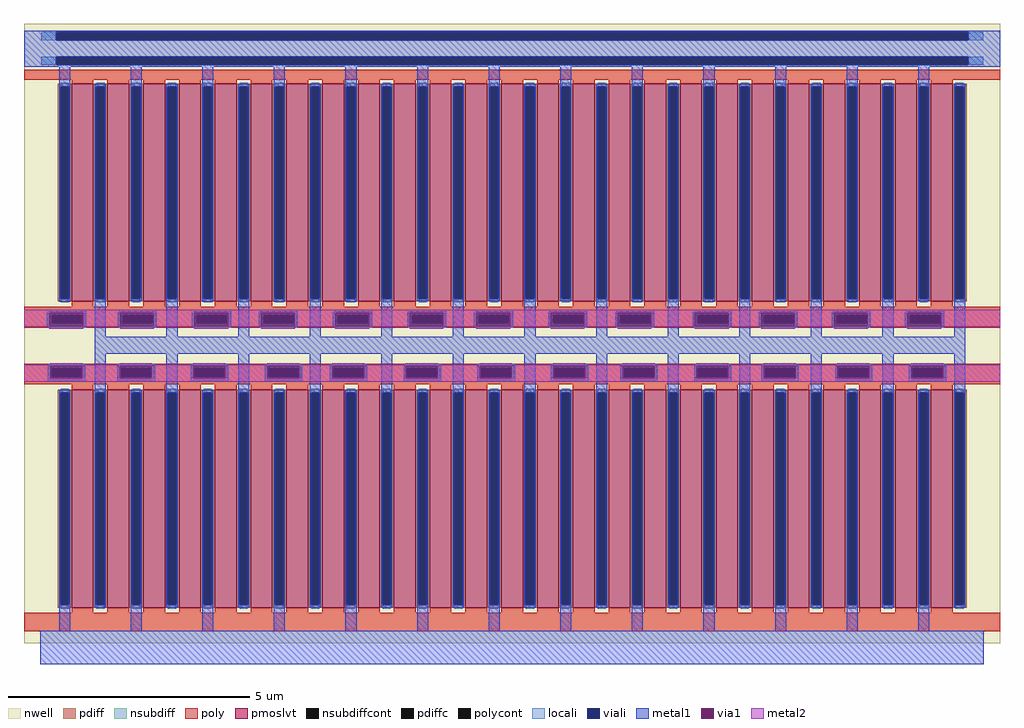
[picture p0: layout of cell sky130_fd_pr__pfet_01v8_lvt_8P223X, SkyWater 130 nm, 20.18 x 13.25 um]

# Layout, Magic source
magic
tech sky130A
magscale 1 2
<< nwell >>
rect -2017 76 2017 1196
rect -2018 -202 2017 76
rect -2017 -1367 2017 -202
<< pmoslvt >>
rect -1821 47 -1731 947
rect -1673 47 -1583 947
rect -1525 47 -1435 947
rect -1377 47 -1287 947
rect -1229 47 -1139 947
rect -1081 47 -991 947
rect -933 47 -843 947
rect -785 47 -695 947
rect -637 47 -547 947
rect -489 47 -399 947
rect -341 47 -251 947
rect -193 47 -103 947
rect -45 47 45 947
rect 103 47 193 947
rect 251 47 341 947
rect 399 47 489 947
rect 547 47 637 947
rect 695 47 785 947
rect 843 47 933 947
rect 991 47 1081 947
rect 1139 47 1229 947
rect 1287 47 1377 947
rect 1435 47 1525 947
rect 1583 47 1673 947
rect 1731 47 1821 947
rect -1821 -1219 -1731 -319
rect -1673 -1219 -1583 -319
rect -1525 -1219 -1435 -319
rect -1377 -1219 -1287 -319
rect -1229 -1219 -1139 -319
rect -1081 -1219 -991 -319
rect -933 -1219 -843 -319
rect -785 -1219 -695 -319
rect -637 -1219 -547 -319
rect -489 -1219 -399 -319
rect -341 -1219 -251 -319
rect -193 -1219 -103 -319
rect -45 -1219 45 -319
rect 103 -1219 193 -319
rect 251 -1219 341 -319
rect 399 -1219 489 -319
rect 547 -1219 637 -319
rect 695 -1219 785 -319
rect 843 -1219 933 -319
rect 991 -1219 1081 -319
rect 1139 -1219 1229 -319
rect 1287 -1219 1377 -319
rect 1435 -1219 1525 -319
rect 1583 -1219 1673 -319
rect 1731 -1219 1821 -319
<< pdiff >>
rect -1879 935 -1821 947
rect -1879 59 -1867 935
rect -1833 59 -1821 935
rect -1879 47 -1821 59
rect -1731 935 -1673 947
rect -1731 59 -1719 935
rect -1685 59 -1673 935
rect -1731 47 -1673 59
rect -1583 935 -1525 947
rect -1583 59 -1571 935
rect -1537 59 -1525 935
rect -1583 47 -1525 59
rect -1435 935 -1377 947
rect -1435 59 -1423 935
rect -1389 59 -1377 935
rect -1435 47 -1377 59
rect -1287 935 -1229 947
rect -1287 59 -1275 935
rect -1241 59 -1229 935
rect -1287 47 -1229 59
rect -1139 935 -1081 947
rect -1139 59 -1127 935
rect -1093 59 -1081 935
rect -1139 47 -1081 59
rect -991 935 -933 947
rect -991 59 -979 935
rect -945 59 -933 935
rect -991 47 -933 59
rect -843 935 -785 947
rect -843 59 -831 935
rect -797 59 -785 935
rect -843 47 -785 59
rect -695 935 -637 947
rect -695 59 -683 935
rect -649 59 -637 935
rect -695 47 -637 59
rect -547 935 -489 947
rect -547 59 -535 935
rect -501 59 -489 935
rect -547 47 -489 59
rect -399 935 -341 947
rect -399 59 -387 935
rect -353 59 -341 935
rect -399 47 -341 59
rect -251 935 -193 947
rect -251 59 -239 935
rect -205 59 -193 935
rect -251 47 -193 59
rect -103 935 -45 947
rect -103 59 -91 935
rect -57 59 -45 935
rect -103 47 -45 59
rect 45 935 103 947
rect 45 59 57 935
rect 91 59 103 935
rect 45 47 103 59
rect 193 935 251 947
rect 193 59 205 935
rect 239 59 251 935
rect 193 47 251 59
rect 341 935 399 947
rect 341 59 353 935
rect 387 59 399 935
rect 341 47 399 59
rect 489 935 547 947
rect 489 59 501 935
rect 535 59 547 935
rect 489 47 547 59
rect 637 935 695 947
rect 637 59 649 935
rect 683 59 695 935
rect 637 47 695 59
rect 785 935 843 947
rect 785 59 797 935
rect 831 59 843 935
rect 785 47 843 59
rect 933 935 991 947
rect 933 59 945 935
rect 979 59 991 935
rect 933 47 991 59
rect 1081 935 1139 947
rect 1081 59 1093 935
rect 1127 59 1139 935
rect 1081 47 1139 59
rect 1229 935 1287 947
rect 1229 59 1241 935
rect 1275 59 1287 935
rect 1229 47 1287 59
rect 1377 935 1435 947
rect 1377 59 1389 935
rect 1423 59 1435 935
rect 1377 47 1435 59
rect 1525 935 1583 947
rect 1525 59 1537 935
rect 1571 59 1583 935
rect 1525 47 1583 59
rect 1673 935 1731 947
rect 1673 59 1685 935
rect 1719 59 1731 935
rect 1673 47 1731 59
rect 1821 935 1879 947
rect 1821 59 1833 935
rect 1867 59 1879 935
rect 1821 47 1879 59
rect -1879 -331 -1821 -319
rect -1879 -1207 -1867 -331
rect -1833 -1207 -1821 -331
rect -1879 -1219 -1821 -1207
rect -1731 -331 -1673 -319
rect -1731 -1207 -1719 -331
rect -1685 -1207 -1673 -331
rect -1731 -1219 -1673 -1207
rect -1583 -331 -1525 -319
rect -1583 -1207 -1571 -331
rect -1537 -1207 -1525 -331
rect -1583 -1219 -1525 -1207
rect -1435 -331 -1377 -319
rect -1435 -1207 -1423 -331
rect -1389 -1207 -1377 -331
rect -1435 -1219 -1377 -1207
rect -1287 -331 -1229 -319
rect -1287 -1207 -1275 -331
rect -1241 -1207 -1229 -331
rect -1287 -1219 -1229 -1207
rect -1139 -331 -1081 -319
rect -1139 -1207 -1127 -331
rect -1093 -1207 -1081 -331
rect -1139 -1219 -1081 -1207
rect -991 -331 -933 -319
rect -991 -1207 -979 -331
rect -945 -1207 -933 -331
rect -991 -1219 -933 -1207
rect -843 -331 -785 -319
rect -843 -1207 -831 -331
rect -797 -1207 -785 -331
rect -843 -1219 -785 -1207
rect -695 -331 -637 -319
rect -695 -1207 -683 -331
rect -649 -1207 -637 -331
rect -695 -1219 -637 -1207
rect -547 -331 -489 -319
rect -547 -1207 -535 -331
rect -501 -1207 -489 -331
rect -547 -1219 -489 -1207
rect -399 -331 -341 -319
rect -399 -1207 -387 -331
rect -353 -1207 -341 -331
rect -399 -1219 -341 -1207
rect -251 -331 -193 -319
rect -251 -1207 -239 -331
rect -205 -1207 -193 -331
rect -251 -1219 -193 -1207
rect -103 -331 -45 -319
rect -103 -1207 -91 -331
rect -57 -1207 -45 -331
rect -103 -1219 -45 -1207
rect 45 -331 103 -319
rect 45 -1207 57 -331
rect 91 -1207 103 -331
rect 45 -1219 103 -1207
rect 193 -331 251 -319
rect 193 -1207 205 -331
rect 239 -1207 251 -331
rect 193 -1219 251 -1207
rect 341 -331 399 -319
rect 341 -1207 353 -331
rect 387 -1207 399 -331
rect 341 -1219 399 -1207
rect 489 -331 547 -319
rect 489 -1207 501 -331
rect 535 -1207 547 -331
rect 489 -1219 547 -1207
rect 637 -331 695 -319
rect 637 -1207 649 -331
rect 683 -1207 695 -331
rect 637 -1219 695 -1207
rect 785 -331 843 -319
rect 785 -1207 797 -331
rect 831 -1207 843 -331
rect 785 -1219 843 -1207
rect 933 -331 991 -319
rect 933 -1207 945 -331
rect 979 -1207 991 -331
rect 933 -1219 991 -1207
rect 1081 -331 1139 -319
rect 1081 -1207 1093 -331
rect 1127 -1207 1139 -331
rect 1081 -1219 1139 -1207
rect 1229 -331 1287 -319
rect 1229 -1207 1241 -331
rect 1275 -1207 1287 -331
rect 1229 -1219 1287 -1207
rect 1377 -331 1435 -319
rect 1377 -1207 1389 -331
rect 1423 -1207 1435 -331
rect 1377 -1219 1435 -1207
rect 1525 -331 1583 -319
rect 1525 -1207 1537 -331
rect 1571 -1207 1583 -331
rect 1525 -1219 1583 -1207
rect 1673 -331 1731 -319
rect 1673 -1207 1685 -331
rect 1719 -1207 1731 -331
rect 1673 -1219 1731 -1207
rect 1821 -331 1879 -319
rect 1821 -1207 1833 -331
rect 1867 -1207 1879 -331
rect 1821 -1219 1879 -1207
<< pdiffc >>
rect -1867 59 -1833 935
rect -1719 59 -1685 935
rect -1571 59 -1537 935
rect -1423 59 -1389 935
rect -1275 59 -1241 935
rect -1127 59 -1093 935
rect -979 59 -945 935
rect -831 59 -797 935
rect -683 59 -649 935
rect -535 59 -501 935
rect -387 59 -353 935
rect -239 59 -205 935
rect -91 59 -57 935
rect 57 59 91 935
rect 205 59 239 935
rect 353 59 387 935
rect 501 59 535 935
rect 649 59 683 935
rect 797 59 831 935
rect 945 59 979 935
rect 1093 59 1127 935
rect 1241 59 1275 935
rect 1389 59 1423 935
rect 1537 59 1571 935
rect 1685 59 1719 935
rect 1833 59 1867 935
rect -1867 -1207 -1833 -331
rect -1719 -1207 -1685 -331
rect -1571 -1207 -1537 -331
rect -1423 -1207 -1389 -331
rect -1275 -1207 -1241 -331
rect -1127 -1207 -1093 -331
rect -979 -1207 -945 -331
rect -831 -1207 -797 -331
rect -683 -1207 -649 -331
rect -535 -1207 -501 -331
rect -387 -1207 -353 -331
rect -239 -1207 -205 -331
rect -91 -1207 -57 -331
rect 57 -1207 91 -331
rect 205 -1207 239 -331
rect 353 -1207 387 -331
rect 501 -1207 535 -331
rect 649 -1207 683 -331
rect 797 -1207 831 -331
rect 945 -1207 979 -331
rect 1093 -1207 1127 -331
rect 1241 -1207 1275 -331
rect 1389 -1207 1423 -331
rect 1537 -1207 1571 -331
rect 1685 -1207 1719 -331
rect 1833 -1207 1867 -331
<< nsubdiff >>
rect -1947 1126 -1885 1160
rect 1885 1126 1947 1160
rect -1947 1025 -1885 1059
rect 1885 1025 1947 1059
<< nsubdiffcont >>
rect -1885 1126 1885 1160
rect -1885 1025 1885 1059
<< poly >>
rect -2017 964 2017 1005
rect -1821 947 -1731 964
rect -1673 947 -1583 964
rect -1525 947 -1435 964
rect -1377 947 -1287 964
rect -1229 947 -1139 964
rect -1081 947 -991 964
rect -933 947 -843 964
rect -785 947 -695 964
rect -637 947 -547 964
rect -489 947 -399 964
rect -341 947 -251 964
rect -193 947 -103 964
rect -45 947 45 964
rect 103 947 193 964
rect 251 947 341 964
rect 399 947 489 964
rect 547 947 637 964
rect 695 947 785 964
rect 843 947 933 964
rect 991 947 1081 964
rect 1139 947 1229 964
rect 1287 947 1377 964
rect 1435 947 1525 964
rect 1583 947 1673 964
rect 1731 947 1821 964
rect -1821 24 -1731 47
rect -1673 24 -1583 47
rect -1525 24 -1435 47
rect -1377 24 -1287 47
rect -1229 24 -1139 47
rect -1081 24 -991 47
rect -933 24 -843 47
rect -785 24 -695 47
rect -637 24 -547 47
rect -489 24 -399 47
rect -341 24 -251 47
rect -193 24 -103 47
rect -45 24 45 47
rect 103 24 193 47
rect 251 24 341 47
rect 399 24 489 47
rect 547 24 637 47
rect 695 24 785 47
rect 843 24 933 47
rect 991 24 1081 47
rect 1139 24 1229 47
rect 1287 24 1377 47
rect 1435 24 1525 47
rect 1583 24 1673 47
rect 1731 24 1821 47
rect -2017 -10 2017 24
rect -2017 -44 -1902 -10
rect -1778 -44 -1610 -10
rect -1486 -44 -1303 -10
rect -1179 -44 -1027 -10
rect -903 -44 -720 -10
rect -596 -44 -413 -10
rect -289 -44 -137 -10
rect -13 -44 170 -10
rect 294 -44 447 -10
rect 571 -44 767 -10
rect 891 -44 1040 -10
rect 1164 -44 1342 -10
rect 1466 -44 1645 -10
rect 1769 -44 2017 -10
rect -2017 -61 2017 -44
rect -2017 -230 2017 -211
rect -2017 -264 -1903 -230
rect -1779 -264 -1616 -230
rect -1492 -264 -1312 -230
rect -1188 -264 -1007 -230
rect -883 -264 -738 -230
rect -614 -264 -433 -230
rect -309 -264 -128 -230
rect -4 -264 176 -230
rect 300 -264 463 -230
rect 587 -264 768 -230
rect 892 -264 1046 -230
rect 1170 -264 1351 -230
rect 1475 -264 1656 -230
rect 1780 -264 2017 -230
rect -2017 -295 2017 -264
rect -1821 -319 -1731 -295
rect -1673 -319 -1583 -295
rect -1525 -319 -1435 -295
rect -1377 -319 -1287 -295
rect -1229 -319 -1139 -295
rect -1081 -319 -991 -295
rect -933 -319 -843 -295
rect -785 -319 -695 -295
rect -637 -319 -547 -295
rect -489 -319 -399 -295
rect -341 -319 -251 -295
rect -193 -319 -103 -295
rect -45 -319 45 -295
rect 103 -319 193 -295
rect 251 -319 341 -295
rect 399 -319 489 -295
rect 547 -319 637 -295
rect 695 -319 785 -295
rect 843 -319 933 -295
rect 991 -319 1081 -295
rect 1139 -319 1229 -295
rect 1287 -319 1377 -295
rect 1435 -319 1525 -295
rect 1583 -319 1673 -295
rect 1731 -319 1821 -295
rect -1821 -1241 -1731 -1219
rect -1673 -1241 -1583 -1219
rect -1525 -1241 -1435 -1219
rect -1377 -1241 -1287 -1219
rect -1229 -1241 -1139 -1219
rect -1081 -1241 -991 -1219
rect -933 -1241 -843 -1219
rect -785 -1241 -695 -1219
rect -637 -1241 -547 -1219
rect -489 -1241 -399 -1219
rect -341 -1241 -251 -1219
rect -193 -1241 -103 -1219
rect -45 -1241 45 -1219
rect 103 -1241 193 -1219
rect 251 -1241 341 -1219
rect 399 -1241 489 -1219
rect 547 -1241 637 -1219
rect 695 -1241 785 -1219
rect 843 -1241 933 -1219
rect 991 -1241 1081 -1219
rect 1139 -1241 1229 -1219
rect 1287 -1241 1377 -1219
rect 1435 -1241 1525 -1219
rect 1583 -1241 1673 -1219
rect 1731 -1241 1821 -1219
rect -2017 -1317 2017 -1241
<< polycont >>
rect -1902 -44 -1778 -10
rect -1610 -44 -1486 -10
rect -1303 -44 -1179 -10
rect -1027 -44 -903 -10
rect -720 -44 -596 -10
rect -413 -44 -289 -10
rect -137 -44 -13 -10
rect 170 -44 294 -10
rect 447 -44 571 -10
rect 767 -44 891 -10
rect 1040 -44 1164 -10
rect 1342 -44 1466 -10
rect 1645 -44 1769 -10
rect -1903 -264 -1779 -230
rect -1616 -264 -1492 -230
rect -1312 -264 -1188 -230
rect -1007 -264 -883 -230
rect -738 -264 -614 -230
rect -433 -264 -309 -230
rect -128 -264 -4 -230
rect 176 -264 300 -230
rect 463 -264 587 -230
rect 768 -264 892 -230
rect 1046 -264 1170 -230
rect 1351 -264 1475 -230
rect 1656 -264 1780 -230
<< locali >>
rect -1947 1126 -1885 1160
rect 1885 1126 1947 1160
rect -1947 1025 -1885 1059
rect 1885 1025 1947 1059
rect -1867 935 -1833 951
rect -1867 43 -1833 59
rect -1719 935 -1685 951
rect -1719 43 -1685 59
rect -1571 935 -1537 951
rect -1571 43 -1537 59
rect -1423 935 -1389 951
rect -1423 43 -1389 59
rect -1275 935 -1241 951
rect -1275 43 -1241 59
rect -1127 935 -1093 951
rect -1127 43 -1093 59
rect -979 935 -945 951
rect -979 43 -945 59
rect -831 935 -797 951
rect -831 43 -797 59
rect -683 935 -649 951
rect -683 43 -649 59
rect -535 935 -501 951
rect -535 43 -501 59
rect -387 935 -353 951
rect -387 43 -353 59
rect -239 935 -205 951
rect -239 43 -205 59
rect -91 935 -57 951
rect -91 43 -57 59
rect 57 935 91 951
rect 57 43 91 59
rect 205 935 239 951
rect 205 43 239 59
rect 353 935 387 951
rect 353 43 387 59
rect 501 935 535 951
rect 501 43 535 59
rect 649 935 683 951
rect 649 43 683 59
rect 797 935 831 951
rect 797 43 831 59
rect 945 935 979 951
rect 945 43 979 59
rect 1093 935 1127 951
rect 1093 43 1127 59
rect 1241 935 1275 951
rect 1241 43 1275 59
rect 1389 935 1423 951
rect 1389 43 1423 59
rect 1537 935 1571 951
rect 1537 43 1571 59
rect 1685 935 1719 951
rect 1685 43 1719 59
rect 1833 935 1867 951
rect 1833 43 1867 59
rect -1918 -10 -1761 7
rect -1918 -44 -1902 -10
rect -1778 -44 -1761 -10
rect -1918 -61 -1761 -44
rect -1626 -10 -1469 7
rect -1626 -44 -1610 -10
rect -1486 -44 -1469 -10
rect -1626 -61 -1469 -44
rect -1319 -10 -1162 7
rect -1319 -44 -1303 -10
rect -1179 -44 -1162 -10
rect -1319 -61 -1162 -44
rect -1043 -10 -886 7
rect -1043 -44 -1027 -10
rect -903 -44 -886 -10
rect -1043 -61 -886 -44
rect -736 -10 -579 7
rect -736 -44 -720 -10
rect -596 -44 -579 -10
rect -736 -61 -579 -44
rect -429 -10 -272 7
rect -429 -44 -413 -10
rect -289 -44 -272 -10
rect -429 -61 -272 -44
rect -153 -10 4 7
rect -153 -44 -137 -10
rect -13 -44 4 -10
rect -153 -61 4 -44
rect 154 -10 311 7
rect 154 -44 170 -10
rect 294 -44 311 -10
rect 154 -61 311 -44
rect 431 -10 588 7
rect 431 -44 447 -10
rect 571 -44 588 -10
rect 431 -61 588 -44
rect 751 -10 908 7
rect 751 -44 767 -10
rect 891 -44 908 -10
rect 751 -61 908 -44
rect 1024 -10 1181 7
rect 1024 -44 1040 -10
rect 1164 -44 1181 -10
rect 1024 -61 1181 -44
rect 1326 -10 1483 7
rect 1326 -44 1342 -10
rect 1466 -44 1483 -10
rect 1326 -61 1483 -44
rect 1629 -10 1786 7
rect 1629 -44 1645 -10
rect 1769 -44 1786 -10
rect 1629 -61 1786 -44
rect -1919 -230 -1763 -213
rect -1919 -264 -1903 -230
rect -1779 -264 -1763 -230
rect -1919 -281 -1763 -264
rect -1632 -230 -1476 -213
rect -1632 -264 -1616 -230
rect -1492 -264 -1476 -230
rect -1632 -281 -1476 -264
rect -1328 -230 -1172 -213
rect -1328 -264 -1312 -230
rect -1188 -264 -1172 -230
rect -1328 -281 -1172 -264
rect -1023 -230 -867 -213
rect -1023 -264 -1007 -230
rect -883 -264 -867 -230
rect -1023 -281 -867 -264
rect -754 -230 -598 -213
rect -754 -264 -738 -230
rect -614 -264 -598 -230
rect -754 -281 -598 -264
rect -449 -230 -293 -213
rect -449 -264 -433 -230
rect -309 -264 -293 -230
rect -449 -281 -293 -264
rect -144 -230 12 -213
rect -144 -264 -128 -230
rect -4 -264 12 -230
rect -144 -281 12 -264
rect 160 -230 316 -213
rect 160 -264 176 -230
rect 300 -264 316 -230
rect 160 -281 316 -264
rect 447 -230 603 -213
rect 447 -264 463 -230
rect 587 -264 603 -230
rect 447 -281 603 -264
rect 752 -230 908 -213
rect 752 -264 768 -230
rect 892 -264 908 -230
rect 752 -281 908 -264
rect 1030 -230 1186 -213
rect 1030 -264 1046 -230
rect 1170 -264 1186 -230
rect 1030 -281 1186 -264
rect 1335 -230 1491 -213
rect 1335 -264 1351 -230
rect 1475 -264 1491 -230
rect 1335 -281 1491 -264
rect 1640 -230 1796 -213
rect 1640 -264 1656 -230
rect 1780 -264 1796 -230
rect 1640 -281 1796 -264
rect -1867 -331 -1833 -315
rect -1867 -1223 -1833 -1207
rect -1719 -331 -1685 -315
rect -1719 -1223 -1685 -1207
rect -1571 -331 -1537 -315
rect -1571 -1223 -1537 -1207
rect -1423 -331 -1389 -315
rect -1423 -1223 -1389 -1207
rect -1275 -331 -1241 -315
rect -1275 -1223 -1241 -1207
rect -1127 -331 -1093 -315
rect -1127 -1223 -1093 -1207
rect -979 -331 -945 -315
rect -979 -1223 -945 -1207
rect -831 -331 -797 -315
rect -831 -1223 -797 -1207
rect -683 -331 -649 -315
rect -683 -1223 -649 -1207
rect -535 -331 -501 -315
rect -535 -1223 -501 -1207
rect -387 -331 -353 -315
rect -387 -1223 -353 -1207
rect -239 -331 -205 -315
rect -239 -1223 -205 -1207
rect -91 -331 -57 -315
rect -91 -1223 -57 -1207
rect 57 -331 91 -315
rect 57 -1223 91 -1207
rect 205 -331 239 -315
rect 205 -1223 239 -1207
rect 353 -331 387 -315
rect 353 -1223 387 -1207
rect 501 -331 535 -315
rect 501 -1223 535 -1207
rect 649 -331 683 -315
rect 649 -1223 683 -1207
rect 797 -331 831 -315
rect 797 -1223 831 -1207
rect 945 -331 979 -315
rect 945 -1223 979 -1207
rect 1093 -331 1127 -315
rect 1093 -1223 1127 -1207
rect 1241 -331 1275 -315
rect 1241 -1223 1275 -1207
rect 1389 -331 1423 -315
rect 1389 -1223 1423 -1207
rect 1537 -331 1571 -315
rect 1537 -1223 1571 -1207
rect 1685 -331 1719 -315
rect 1685 -1223 1719 -1207
rect 1833 -331 1867 -315
rect 1833 -1223 1867 -1207
<< viali >>
rect -1885 1126 1885 1160
rect -1885 1025 1885 1059
rect -1867 59 -1833 935
rect -1719 59 -1685 935
rect -1571 59 -1537 935
rect -1423 59 -1389 935
rect -1275 59 -1241 935
rect -1127 59 -1093 935
rect -979 59 -945 935
rect -831 59 -797 935
rect -683 59 -649 935
rect -535 59 -501 935
rect -387 59 -353 935
rect -239 59 -205 935
rect -91 59 -57 935
rect 57 59 91 935
rect 205 59 239 935
rect 353 59 387 935
rect 501 59 535 935
rect 649 59 683 935
rect 797 59 831 935
rect 945 59 979 935
rect 1093 59 1127 935
rect 1241 59 1275 935
rect 1389 59 1423 935
rect 1537 59 1571 935
rect 1685 59 1719 935
rect 1833 59 1867 935
rect -1902 -44 -1778 -10
rect -1610 -44 -1486 -10
rect -1303 -44 -1179 -10
rect -1027 -44 -903 -10
rect -720 -44 -596 -10
rect -413 -44 -289 -10
rect -137 -44 -13 -10
rect 170 -44 294 -10
rect 447 -44 571 -10
rect 767 -44 891 -10
rect 1040 -44 1164 -10
rect 1342 -44 1466 -10
rect 1645 -44 1769 -10
rect -1903 -264 -1779 -230
rect -1616 -264 -1492 -230
rect -1312 -264 -1188 -230
rect -1007 -264 -883 -230
rect -738 -264 -614 -230
rect -433 -264 -309 -230
rect -128 -264 -4 -230
rect 176 -264 300 -230
rect 463 -264 587 -230
rect 768 -264 892 -230
rect 1046 -264 1170 -230
rect 1351 -264 1475 -230
rect 1656 -264 1780 -230
rect -1867 -1207 -1833 -331
rect -1719 -1207 -1685 -331
rect -1571 -1207 -1537 -331
rect -1423 -1207 -1389 -331
rect -1275 -1207 -1241 -331
rect -1127 -1207 -1093 -331
rect -979 -1207 -945 -331
rect -831 -1207 -797 -331
rect -683 -1207 -649 -331
rect -535 -1207 -501 -331
rect -387 -1207 -353 -331
rect -239 -1207 -205 -331
rect -91 -1207 -57 -331
rect 57 -1207 91 -331
rect 205 -1207 239 -331
rect 353 -1207 387 -331
rect 501 -1207 535 -331
rect 649 -1207 683 -331
rect 797 -1207 831 -331
rect 945 -1207 979 -331
rect 1093 -1207 1127 -331
rect 1241 -1207 1275 -331
rect 1389 -1207 1423 -331
rect 1537 -1207 1571 -331
rect 1685 -1207 1719 -331
rect 1833 -1207 1867 -331
<< metal1 >>
rect -2017 1160 2017 1167
rect -2017 1126 -1885 1160
rect 1885 1126 2017 1160
rect -2017 1059 2017 1126
rect -2017 1025 -1885 1059
rect 1885 1025 2017 1059
rect -2017 1018 2017 1025
rect -1873 935 -1827 1018
rect -1873 59 -1867 935
rect -1833 59 -1827 935
rect -1873 46 -1827 59
rect -1725 935 -1679 947
rect -1725 59 -1719 935
rect -1685 59 -1679 935
rect -1923 -55 -1913 0
rect -1773 -55 -1763 0
rect -1725 -99 -1679 59
rect -1577 935 -1531 1018
rect -1577 59 -1571 935
rect -1537 59 -1531 935
rect -1577 47 -1531 59
rect -1429 935 -1383 947
rect -1429 59 -1423 935
rect -1389 59 -1383 935
rect -1631 -55 -1621 0
rect -1481 -55 -1471 0
rect -1429 -99 -1383 59
rect -1281 935 -1235 1018
rect -986 947 -940 1018
rect -1281 59 -1275 935
rect -1241 59 -1235 935
rect -1281 46 -1235 59
rect -1133 935 -1087 947
rect -1133 59 -1127 935
rect -1093 59 -1087 935
rect -1324 -55 -1314 0
rect -1174 -55 -1164 0
rect -1133 -99 -1087 59
rect -986 935 -939 947
rect -986 59 -979 935
rect -945 59 -939 935
rect -986 47 -939 59
rect -837 935 -791 947
rect -837 59 -831 935
rect -797 59 -791 935
rect -986 46 -940 47
rect -1048 -55 -1038 0
rect -898 -55 -888 0
rect -837 -99 -791 59
rect -689 935 -643 1018
rect -689 59 -683 935
rect -649 59 -643 935
rect -689 46 -643 59
rect -541 935 -495 947
rect -541 59 -535 935
rect -501 59 -495 935
rect -741 -55 -731 0
rect -591 -55 -581 0
rect -541 -99 -495 59
rect -393 935 -347 1018
rect -393 59 -387 935
rect -353 59 -347 935
rect -393 47 -347 59
rect -245 935 -199 947
rect -245 59 -239 935
rect -205 59 -199 935
rect -434 -55 -424 0
rect -284 -55 -274 0
rect -245 -99 -199 59
rect -97 935 -51 1018
rect -97 59 -91 935
rect -57 59 -51 935
rect -97 47 -51 59
rect 51 935 97 947
rect 51 59 57 935
rect 91 59 97 935
rect -158 -55 -148 0
rect -8 -55 2 0
rect 51 -99 97 59
rect 199 935 245 1018
rect 199 59 205 935
rect 239 59 245 935
rect 199 47 245 59
rect 347 935 393 947
rect 347 59 353 935
rect 387 59 393 935
rect 149 -55 159 0
rect 299 -55 309 0
rect 347 -99 393 59
rect 495 935 541 1018
rect 495 59 501 935
rect 535 59 541 935
rect 495 46 541 59
rect 643 935 689 947
rect 643 59 649 935
rect 683 59 689 935
rect 426 -55 436 0
rect 576 -55 586 0
rect 643 -99 689 59
rect 791 935 837 1018
rect 791 59 797 935
rect 831 59 837 935
rect 791 46 837 59
rect 939 935 985 947
rect 939 59 945 935
rect 979 59 985 935
rect 746 -55 756 0
rect 896 -55 906 0
rect 939 -99 985 59
rect 1087 935 1133 1018
rect 1087 59 1093 935
rect 1127 59 1133 935
rect 1087 46 1133 59
rect 1235 935 1281 947
rect 1235 59 1241 935
rect 1275 59 1281 935
rect 1019 -55 1029 0
rect 1169 -55 1179 0
rect 1235 -99 1281 59
rect 1383 935 1429 1018
rect 1383 59 1389 935
rect 1423 59 1429 935
rect 1383 46 1429 59
rect 1531 935 1577 947
rect 1531 59 1537 935
rect 1571 59 1577 935
rect 1321 -55 1331 0
rect 1471 -55 1481 0
rect 1531 -99 1577 59
rect 1679 935 1725 1018
rect 1679 59 1685 935
rect 1719 59 1725 935
rect 1679 47 1725 59
rect 1827 935 1873 947
rect 1827 59 1833 935
rect 1867 59 1873 935
rect 1624 -55 1634 0
rect 1774 -55 1784 0
rect 1827 -99 1873 59
rect -1725 -170 1873 -99
rect -1919 -271 -1909 -219
rect -1777 -271 -1767 -219
rect -1873 -331 -1827 -319
rect -1873 -1207 -1867 -331
rect -1833 -1207 -1827 -331
rect -1873 -1315 -1827 -1207
rect -1725 -331 -1679 -170
rect -1632 -271 -1622 -219
rect -1490 -271 -1480 -219
rect -1725 -1207 -1719 -331
rect -1685 -1207 -1679 -331
rect -1725 -1219 -1679 -1207
rect -1577 -331 -1531 -319
rect -1577 -1207 -1571 -331
rect -1537 -1207 -1531 -331
rect -1577 -1315 -1531 -1207
rect -1429 -331 -1383 -170
rect -1328 -271 -1318 -219
rect -1186 -271 -1176 -219
rect -1429 -1207 -1423 -331
rect -1389 -1207 -1383 -331
rect -1429 -1219 -1383 -1207
rect -1281 -331 -1235 -319
rect -1281 -1207 -1275 -331
rect -1241 -1207 -1235 -331
rect -1281 -1315 -1235 -1207
rect -1133 -331 -1087 -170
rect -1023 -271 -1013 -219
rect -881 -271 -871 -219
rect -1133 -1207 -1127 -331
rect -1093 -1207 -1087 -331
rect -1133 -1219 -1087 -1207
rect -985 -331 -939 -319
rect -985 -1207 -979 -331
rect -945 -1207 -939 -331
rect -985 -1315 -939 -1207
rect -837 -331 -791 -170
rect -754 -271 -744 -219
rect -612 -271 -602 -219
rect -837 -1207 -831 -331
rect -797 -1207 -791 -331
rect -837 -1219 -791 -1207
rect -689 -331 -643 -319
rect -689 -1207 -683 -331
rect -649 -1207 -643 -331
rect -689 -1315 -643 -1207
rect -541 -331 -495 -170
rect -449 -271 -439 -219
rect -307 -271 -297 -219
rect -541 -1207 -535 -331
rect -501 -1207 -495 -331
rect -541 -1219 -495 -1207
rect -393 -331 -347 -319
rect -393 -1207 -387 -331
rect -353 -1207 -347 -331
rect -393 -1315 -347 -1207
rect -245 -331 -199 -170
rect -144 -271 -134 -219
rect -2 -271 8 -219
rect -245 -1207 -239 -331
rect -205 -1207 -199 -331
rect -245 -1219 -199 -1207
rect -97 -331 -51 -319
rect -97 -1207 -91 -331
rect -57 -1207 -51 -331
rect -97 -1315 -51 -1207
rect 51 -331 97 -170
rect 160 -271 170 -219
rect 302 -271 312 -219
rect 51 -1207 57 -331
rect 91 -1207 97 -331
rect 51 -1219 97 -1207
rect 199 -331 245 -319
rect 199 -1207 205 -331
rect 239 -1207 245 -331
rect 199 -1315 245 -1207
rect 347 -331 393 -170
rect 447 -271 457 -219
rect 589 -271 599 -219
rect 347 -1207 353 -331
rect 387 -1207 393 -331
rect 347 -1219 393 -1207
rect 495 -331 541 -319
rect 495 -1207 501 -331
rect 535 -1207 541 -331
rect 495 -1315 541 -1207
rect 643 -331 689 -170
rect 752 -271 762 -219
rect 894 -271 904 -219
rect 643 -1207 649 -331
rect 683 -1207 689 -331
rect 643 -1219 689 -1207
rect 791 -331 837 -319
rect 791 -1207 797 -331
rect 831 -1207 837 -331
rect 791 -1315 837 -1207
rect 939 -331 985 -170
rect 1030 -271 1040 -219
rect 1172 -271 1182 -219
rect 939 -1207 945 -331
rect 979 -1207 985 -331
rect 939 -1219 985 -1207
rect 1087 -331 1133 -319
rect 1087 -1207 1093 -331
rect 1127 -1207 1133 -331
rect 1087 -1315 1133 -1207
rect 1235 -331 1281 -170
rect 1335 -271 1345 -219
rect 1477 -271 1487 -219
rect 1235 -1207 1241 -331
rect 1275 -1207 1281 -331
rect 1235 -1219 1281 -1207
rect 1383 -331 1429 -319
rect 1383 -1207 1389 -331
rect 1423 -1207 1429 -331
rect 1383 -1315 1429 -1207
rect 1531 -331 1577 -170
rect 1640 -271 1650 -219
rect 1782 -271 1792 -219
rect 1531 -1207 1537 -331
rect 1571 -1207 1577 -331
rect 1531 -1219 1577 -1207
rect 1679 -331 1725 -319
rect 1679 -1207 1685 -331
rect 1719 -1207 1725 -331
rect 1679 -1315 1725 -1207
rect 1827 -331 1873 -170
rect 1827 -1207 1833 -331
rect 1867 -1207 1873 -331
rect 1827 -1219 1873 -1207
rect -1950 -1454 1949 -1315
<< via1 >>
rect -1913 -10 -1773 0
rect -1913 -44 -1902 -10
rect -1902 -44 -1778 -10
rect -1778 -44 -1773 -10
rect -1913 -55 -1773 -44
rect -1621 -10 -1481 0
rect -1621 -44 -1610 -10
rect -1610 -44 -1486 -10
rect -1486 -44 -1481 -10
rect -1621 -55 -1481 -44
rect -1314 -10 -1174 0
rect -1314 -44 -1303 -10
rect -1303 -44 -1179 -10
rect -1179 -44 -1174 -10
rect -1314 -55 -1174 -44
rect -1038 -10 -898 0
rect -1038 -44 -1027 -10
rect -1027 -44 -903 -10
rect -903 -44 -898 -10
rect -1038 -55 -898 -44
rect -731 -10 -591 0
rect -731 -44 -720 -10
rect -720 -44 -596 -10
rect -596 -44 -591 -10
rect -731 -55 -591 -44
rect -424 -10 -284 0
rect -424 -44 -413 -10
rect -413 -44 -289 -10
rect -289 -44 -284 -10
rect -424 -55 -284 -44
rect -148 -10 -8 0
rect -148 -44 -137 -10
rect -137 -44 -13 -10
rect -13 -44 -8 -10
rect -148 -55 -8 -44
rect 159 -10 299 0
rect 159 -44 170 -10
rect 170 -44 294 -10
rect 294 -44 299 -10
rect 159 -55 299 -44
rect 436 -10 576 0
rect 436 -44 447 -10
rect 447 -44 571 -10
rect 571 -44 576 -10
rect 436 -55 576 -44
rect 756 -10 896 0
rect 756 -44 767 -10
rect 767 -44 891 -10
rect 891 -44 896 -10
rect 756 -55 896 -44
rect 1029 -10 1169 0
rect 1029 -44 1040 -10
rect 1040 -44 1164 -10
rect 1164 -44 1169 -10
rect 1029 -55 1169 -44
rect 1331 -10 1471 0
rect 1331 -44 1342 -10
rect 1342 -44 1466 -10
rect 1466 -44 1471 -10
rect 1331 -55 1471 -44
rect 1634 -10 1774 0
rect 1634 -44 1645 -10
rect 1645 -44 1769 -10
rect 1769 -44 1774 -10
rect 1634 -55 1774 -44
rect -1909 -230 -1777 -219
rect -1909 -264 -1903 -230
rect -1903 -264 -1779 -230
rect -1779 -264 -1777 -230
rect -1909 -271 -1777 -264
rect -1622 -230 -1490 -219
rect -1622 -264 -1616 -230
rect -1616 -264 -1492 -230
rect -1492 -264 -1490 -230
rect -1622 -271 -1490 -264
rect -1318 -230 -1186 -219
rect -1318 -264 -1312 -230
rect -1312 -264 -1188 -230
rect -1188 -264 -1186 -230
rect -1318 -271 -1186 -264
rect -1013 -230 -881 -219
rect -1013 -264 -1007 -230
rect -1007 -264 -883 -230
rect -883 -264 -881 -230
rect -1013 -271 -881 -264
rect -744 -230 -612 -219
rect -744 -264 -738 -230
rect -738 -264 -614 -230
rect -614 -264 -612 -230
rect -744 -271 -612 -264
rect -439 -230 -307 -219
rect -439 -264 -433 -230
rect -433 -264 -309 -230
rect -309 -264 -307 -230
rect -439 -271 -307 -264
rect -134 -230 -2 -219
rect -134 -264 -128 -230
rect -128 -264 -4 -230
rect -4 -264 -2 -230
rect -134 -271 -2 -264
rect 170 -230 302 -219
rect 170 -264 176 -230
rect 176 -264 300 -230
rect 300 -264 302 -230
rect 170 -271 302 -264
rect 457 -230 589 -219
rect 457 -264 463 -230
rect 463 -264 587 -230
rect 587 -264 589 -230
rect 457 -271 589 -264
rect 762 -230 894 -219
rect 762 -264 768 -230
rect 768 -264 892 -230
rect 892 -264 894 -230
rect 762 -271 894 -264
rect 1040 -230 1172 -219
rect 1040 -264 1046 -230
rect 1046 -264 1170 -230
rect 1170 -264 1172 -230
rect 1040 -271 1172 -264
rect 1345 -230 1477 -219
rect 1345 -264 1351 -230
rect 1351 -264 1475 -230
rect 1475 -264 1477 -230
rect 1345 -271 1477 -264
rect 1650 -230 1782 -219
rect 1650 -264 1656 -230
rect 1656 -264 1780 -230
rect 1780 -264 1782 -230
rect 1650 -271 1782 -264
<< metal2 >>
rect -2017 0 2017 13
rect -2017 -55 -1913 0
rect -1773 -55 -1621 0
rect -1481 -55 -1314 0
rect -1174 -55 -1038 0
rect -898 -55 -731 0
rect -591 -55 -424 0
rect -284 -55 -148 0
rect -8 -55 159 0
rect 299 -55 436 0
rect 576 -55 756 0
rect 896 -55 1029 0
rect 1169 -55 1331 0
rect 1471 -55 1634 0
rect 1774 -55 2017 0
rect -2017 -57 2017 -55
rect -1913 -65 -1773 -57
rect -1621 -65 -1481 -57
rect -1314 -65 -1174 -57
rect -1038 -65 -898 -57
rect -731 -65 -591 -57
rect -424 -65 -284 -57
rect -148 -65 -8 -57
rect 159 -65 299 -57
rect 436 -65 576 -57
rect 756 -65 896 -57
rect 1029 -65 1169 -57
rect 1331 -65 1471 -57
rect 1634 -65 1774 -57
rect -1909 -215 -1777 -209
rect -1622 -215 -1490 -209
rect -1318 -215 -1186 -209
rect -1013 -215 -881 -209
rect -744 -215 -612 -209
rect -439 -215 -307 -209
rect -134 -215 -2 -209
rect 170 -215 302 -209
rect 457 -215 589 -209
rect 762 -215 894 -209
rect 1040 -215 1172 -209
rect 1345 -215 1477 -209
rect 1650 -215 1782 -209
rect -2017 -219 2017 -215
rect -2017 -271 -1909 -219
rect -1777 -271 -1622 -219
rect -1490 -271 -1318 -219
rect -1186 -271 -1013 -219
rect -881 -271 -744 -219
rect -612 -271 -439 -219
rect -307 -271 -134 -219
rect -2 -271 170 -219
rect 302 -271 457 -219
rect 589 -271 762 -219
rect 894 -271 1040 -219
rect 1172 -271 1345 -219
rect 1477 -271 1650 -219
rect 1782 -271 2017 -219
rect -2017 -285 2017 -271
<< properties >>
string gencell sky130_fd_pr__pfet_01v8_lvt
string FIXED_BBOX -1964 -1042 1964 1042
string parameters w 4.5 l 0.45 m 2 nf 25 diffcov 100 polycov 100 guard 1 glc 0 grc 0 gtc 1 gbc 0 tbcov 100 rlcov 100 topc 0 botc 0 poverlap 0 doverlap 1 lmin 0.35 wmin 0.42 compatible {sky130_fd_pr__pfet_01v8  sky130_fd_pr__pfet_01v8_lvt sky130_fd_pr__pfet_01v8_hvt  sky130_fd_pr__pfet_g5v0d10v5} full_metal 1 viasrc 100 viadrn 100 viagate 100 viagb 0 viagr 0 viagl 0 viagt 0
string library sky130
<< end >>
